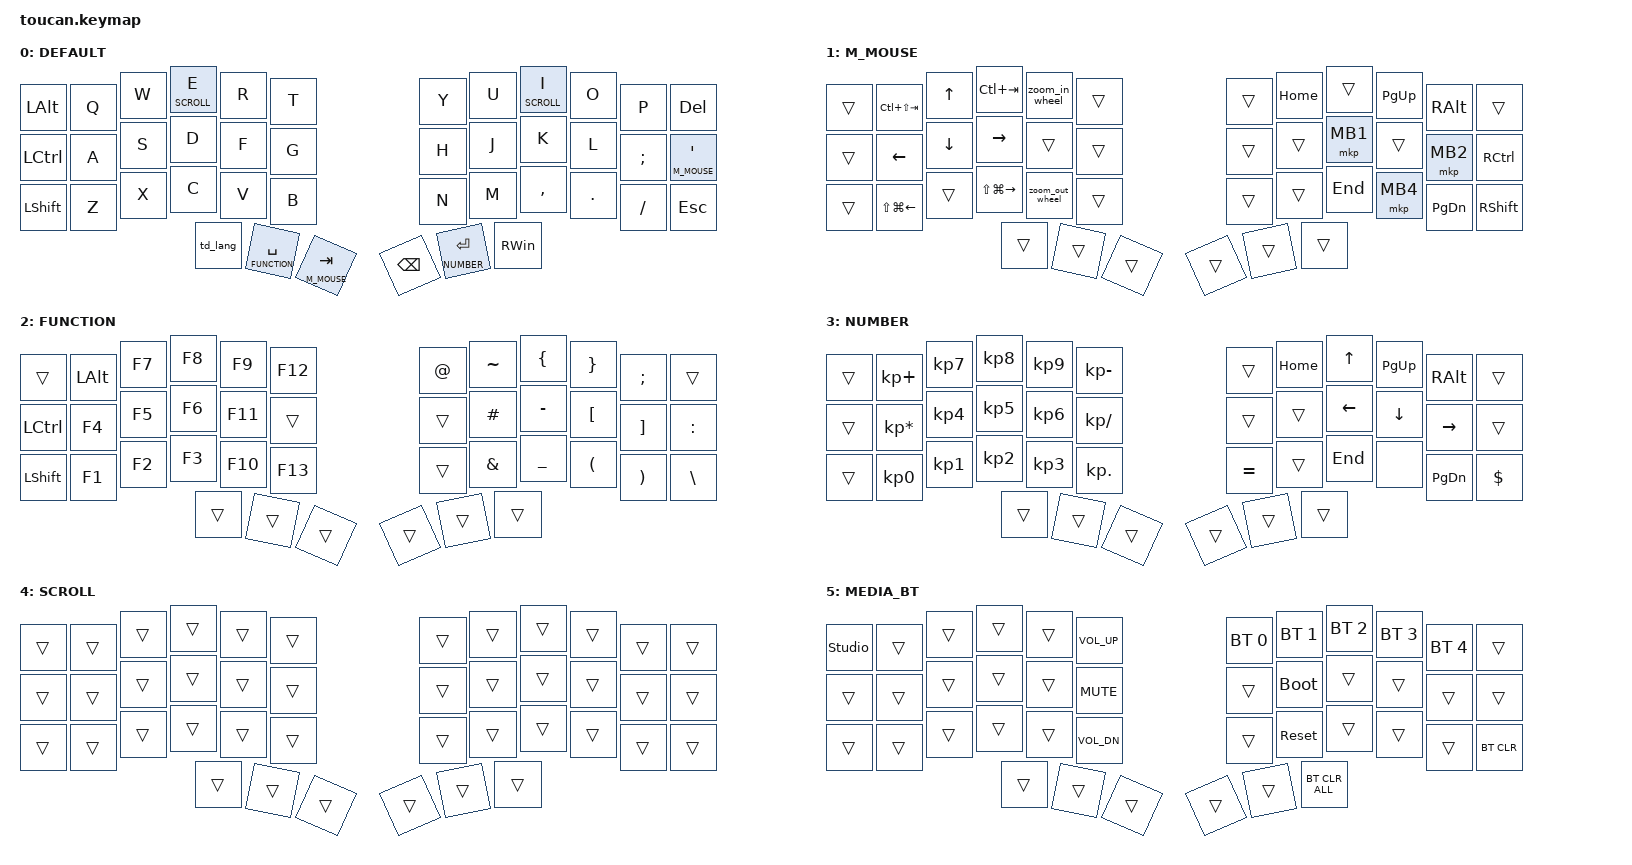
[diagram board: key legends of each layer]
#include <behaviors.dtsi>
#include <dt-bindings/zmk/bt.h>
#include <dt-bindings/zmk/keys.h>
#include <dt-bindings/zmk/outputs.h>
#include <dt-bindings/zmk/pointing.h>

#define DEFAULT 0
#define M_MOUSE 1
#define FUNCTION 2
#define NUMBER 3
#define SCROLL 4
#define MEDIA_BT 5

/ {
    macros {
        zoom_in_wheel: zoom_in_wheel {
            compatible = "zmk,behavior-macro";
            #binding-cells = <0>;
            wait-ms = <40>;
            tap-ms = <40>;
            bindings =
                <&macro_press>,
                <&kp LCTRL &msc SCRL_UP>,
                <&macro_release>,
                <&msc SCRL_UP &kp LCTRL>;
        };

        zoom_out_wheel: zoom_out_wheel {
            compatible = "zmk,behavior-macro";
            #binding-cells = <0>;
            wait-ms = <40>;
            tap-ms = <40>;
            bindings =
                <&macro_press>,
                <&kp LCTRL &msc SCRL_DOWN>,
                <&macro_release>,
                <&msc SCRL_DOWN &kp LCTRL>;
        };
    };

    behaviors {
        td_lang: td_language2_1 {
            compatible = "zmk,behavior-tap-dance";
            #binding-cells = <0>;
            tapping-term-ms = <250>;
            bindings = <&kp LANGUAGE_2>, <&kp LANGUAGE_1>;
        };
    };

    conditional_layers {
        compatible = "zmk,conditional-layers";

        media_bt {
            if-layers = <FUNCTION NUMBER>;
            then-layer = <MEDIA_BT>;
        };
    };

    keymap {
        compatible = "zmk,keymap";

        default_layer {
            display-name = "DEFAULT";
            bindings = <
                &kp LALT  &kp Q &kp W &lt SCROLL E &kp R &kp T   &kp Y &kp U &lt SCROLL I &kp O &kp P &kp DELETE
                &kp LCTRL &kp A &kp S &kp D         &kp F &kp G   &kp H &kp J &kp K        &kp L &kp SEMI &lt M_MOUSE SQT
                &kp LSHFT &kp Z &kp X &kp C         &kp V &kp B   &kp N &kp M &kp COMMA    &kp DOT &kp FSLH &kp ESC
                                      &td_lang &lt FUNCTION SPACE &lt M_MOUSE TAB   &kp BSPC &lt NUMBER ENTER &kp RIGHT_WIN
            >;
        };

        m_mouse {
            display-name = "M_MOUSE";
            bindings = <
                &trans &kp LC(LS(TAB))  &kp UP    &kp LC(TAB)        &zoom_in_wheel    &trans   &trans &kp HOME &trans    &kp PAGE_UP   &kp RALT &trans
                &trans &kp LEFT         &kp DOWN  &kp RIGHT          &trans            &trans   &trans &trans   &mkp MB1  &trans        &mkp MB2 &kp RCTRL
                &trans &kp LS(LG(LEFT)) &trans    &kp LS(LG(RIGHT)) &zoom_out_wheel   &trans   &trans &trans   &kp END   &mkp MB4      &kp PAGE_DOWN &kp RIGHT_SHIFT
                                             &trans &trans &trans   &trans &trans &trans
            >;
        };

        function {
            display-name = "FUNCTION";
            bindings = <
                &trans    &kp LALT  &kp F7 &kp F8 &kp F9 &kp F12   &kp AT   &kp TILDE &kp LBRC &kp RBRC &kp SEMI &trans
                &kp LCTRL &kp F4    &kp F5 &kp F6 &kp F11 &trans   &trans   &kp HASH  &kp MINUS &kp LBKT &kp RBKT &kp COLON
                &kp LSHFT &kp F1    &kp F2 &kp F3 &kp F10 &kp F13  &trans   &kp AMPS  &kp UNDER &kp LPAR &kp RPAR &kp BSLH
                                            &trans &trans &trans   &trans &trans &trans
            >;
        };

        number {
            display-name = "NUMBER";
            bindings = <
                &trans &kp KP_PLUS     &kp KP_NUMBER_7 &kp KP_NUMBER_8 &kp KP_NUMBER_9 &kp KP_MINUS   &trans &kp HOME &kp UP    &kp PAGE_UP   &kp RALT &trans
                &trans &kp KP_ASTERISK &kp KP_NUMBER_4 &kp KP_NUMBER_5 &kp KP_NUMBER_6 &kp KP_SLASH   &trans &trans   &kp LEFT  &kp DOWN      &kp RIGHT &trans
                &trans &kp KP_NUMBER_0 &kp KP_NUMBER_1 &kp KP_NUMBER_2 &kp KP_NUMBER_3 &kp KP_DOT     &kp EQUAL &trans &kp END &none         &kp PAGE_DOWN &kp DLLR
                                               &trans &trans &trans   &trans &trans &trans
            >;
        };

        scroll {
            display-name = "SCROLL";
            bindings = <
                &trans &trans &trans &trans &trans &trans   &trans &trans &trans &trans &trans &trans
                &trans &trans &trans &trans &trans &trans   &trans &trans &trans &trans &trans &trans
                &trans &trans &trans &trans &trans &trans   &trans &trans &trans &trans &trans &trans
                                    &trans &trans &trans   &trans &trans &trans
            >;
        };

        media_bt {
            display-name = "MEDIA_BT";
            bindings = <
                &studio_unlock &trans &trans &trans &trans &kp C_VOL_UP   &bt BT_SEL 0 &bt BT_SEL 1 &bt BT_SEL 2 &bt BT_SEL 3 &bt BT_SEL 4 &trans
                &trans &trans &trans &trans &trans &kp C_MUTE            &trans &bootloader &trans &trans &trans &trans
                &trans &trans &trans &trans &trans &kp C_VOL_DN          &trans &sys_reset &trans &trans &trans &bt BT_CLR
                                      &trans &trans &trans   &trans &trans &bt BT_CLR_ALL
            >;
        };
    };
};
